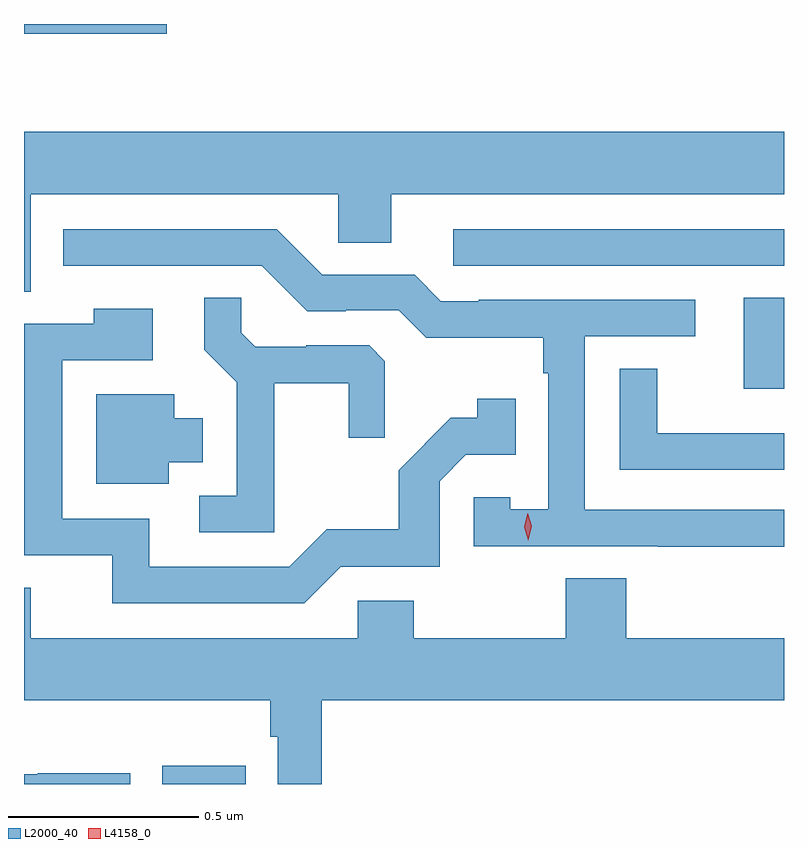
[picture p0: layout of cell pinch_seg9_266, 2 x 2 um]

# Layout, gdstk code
import gdstk
lib = gdstk.Library(unit=1e-6, precision=1e-09)
def R(c, l, rs):  # rectangles x0, y0, x1, y1
    for r in rs: c.add(gdstk.rectangle(r[:2], r[2:], *l))
def P(c, l, *ps):  # polygons
    for p in ps: c.add(gdstk.Polygon(p, *l))
L2000_40 = (2000, 40)
L4158_0 = (4158, 0)

pinch_seg9_266 = lib.new_cell('pinch_seg9_266')
R(pinch_seg9_266, L2000_40, [(411.911,1210.852,412.13,1210.9), (413.441,1211.892,413.547,1212.131), (412.677,1212.216,413.547,1212.312), (411.547,1212.827,411.922,1212.852)])
P(pinch_seg9_266, L2000_40, [(411.565,1212.404),(412.374,1212.404),(412.374,1212.277),(412.513,1212.277),(412.513,1212.404),(413.547,1212.404),(413.547,1212.568),(411.547,1212.568),(411.547,1212.148),(411.565,1212.148)],
  [(413.547,1211.574),(413.022,1211.574),(413.022,1212.03),(413.314,1212.03),(413.314,1212.126),(412.744,1212.126),(412.744,1212.123),(412.644,1212.123),(412.575,1212.192),(412.332,1212.192),(412.212,1212.312),(411.65,1212.312),(411.65,1212.216),(412.173,1212.216),(412.293,1212.096),(412.394,1212.096),(412.394,1212.099),(412.533,1212.099),(412.606,1212.026),(412.914,1212.026),(412.914,1211.933),(412.926,1211.933),(412.926,1211.575),(412.827,1211.575),(412.827,1211.607),(412.731,1211.607),(412.731,1211.478),(413.215,1211.478),(413.215,1211.476),(413.547,1211.476)],
  [(412.205,1211.906),(412.402,1211.906),(412.402,1211.763),(412.496,1211.763),(412.496,1211.965),(412.455,1212.006),(412.29,1212.006),(412.29,1212.003),(412.156,1212.003),(412.119,1212.04),(412.119,1212.131),(412.021,1212.131),(412.021,1211.995),(412.107,1211.909),(412.107,1211.61),(412.008,1211.61),(412.008,1211.514),(412.205,1211.514)],
  [(412.38,1211.424),(412.641,1211.424),(412.641,1211.649),(412.71,1211.718),(412.841,1211.718),(412.841,1211.866),(412.74,1211.866),(412.74,1211.816),(412.67,1211.816),(412.533,1211.678),(412.533,1211.523),(412.344,1211.523),(412.245,1211.424),(411.877,1211.424),(411.877,1211.55),(411.648,1211.55),(411.648,1211.967),(411.886,1211.967),(411.886,1212.103),(411.73,1212.103),(411.73,1212.063),(411.547,1212.063),(411.547,1211.454),(411.779,1211.454),(411.779,1211.328),(412.284,1211.328)],
  [(413.547,1211.775),(413.214,1211.775),(413.214,1211.945),(413.115,1211.945),(413.115,1211.679),(413.547,1211.679)],
  [(411.928,1211.699),(412.018,1211.699),(412.018,1211.815),(411.943,1211.815),(411.943,1211.878),(411.737,1211.878),(411.737,1211.642),(411.928,1211.642)],
  [(412.331,1211.072),(413.547,1211.072),(413.547,1211.236),(413.132,1211.236),(413.132,1211.393),(412.972,1211.393),(412.972,1211.236),(412.572,1211.236),(412.572,1211.334),(412.425,1211.334),(412.425,1211.236),(411.565,1211.236),(411.565,1211.369),(411.547,1211.369),(411.547,1211.072),(412.195,1211.072),(412.195,1210.976),(412.215,1210.976),(412.215,1210.852),(412.331,1210.852)],
  [(411.826,1210.88),(411.583,1210.88),(411.583,1210.878),(411.547,1210.878),(411.547,1210.852),(411.826,1210.852)])
P(pinch_seg9_266, L4158_0, [(412.874,1211.493),(412.874,1211.493),(412.863,1211.529),(412.872,1211.565),(412.873,1211.565),(412.873,1211.565),(412.883,1211.53),(412.874,1211.493)])

lib.write_gds('pinch_seg9_266.gds')
